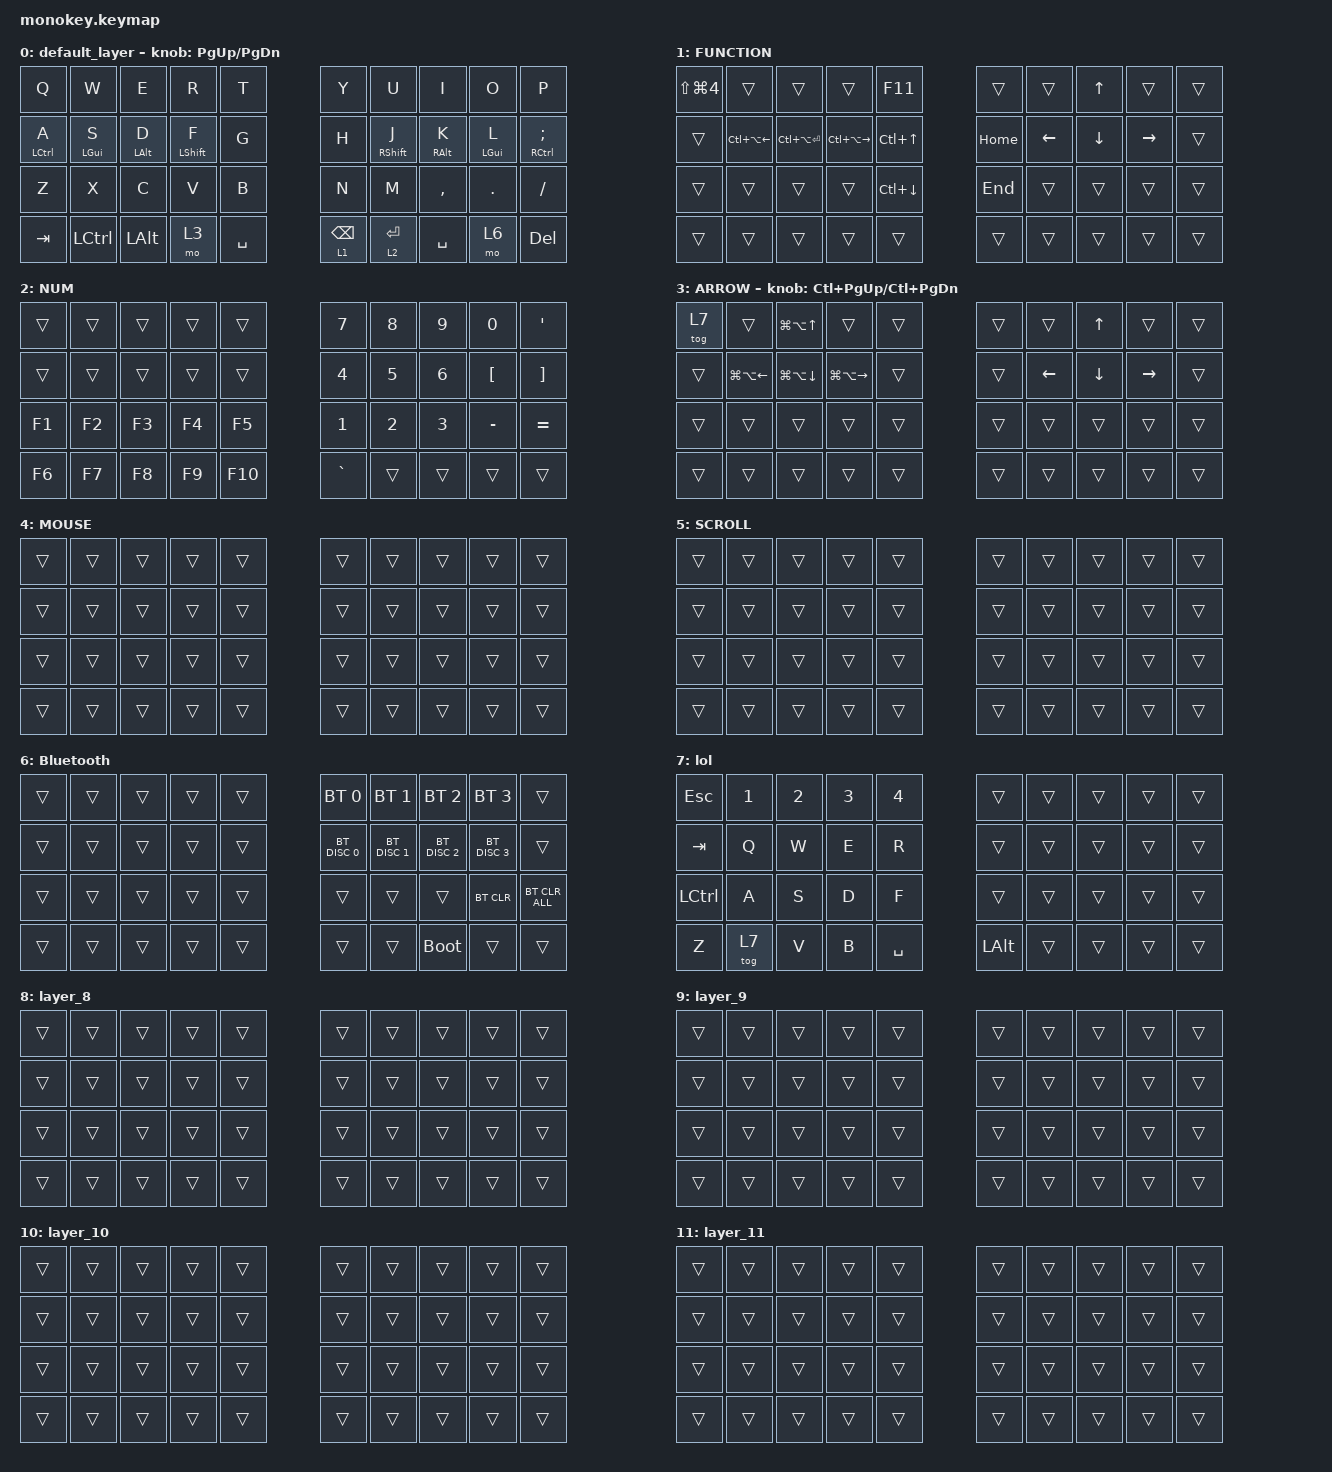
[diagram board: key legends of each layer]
#include <behaviors.dtsi>
#include <dt-bindings/zmk/bt.h>
#include <dt-bindings/zmk/keys.h>
#include <dt-bindings/zmk/pointing.h>

#define MOUSE 4
#define SCROLL 5
#define NUM 6
#define LOL 7

&mt {
    flavor = "balanced";
    quick-tap-ms = <300>;
};

&lt { quick-tap-ms = <300>; };

&caps_word { continue-list = <UNDERSCORE BACKSPACE DELETE MINUS>; };

/ {
    combos {
        compatible = "zmk,combos";

        Escape {
            bindings = <&kp ESCAPE>;
            key-positions = <0 1>;
        };

        Backspace {
            bindings = <&kp BACKSPACE>;
            key-positions = <8 9>;
        };

        left_click {
            bindings = <&mkp LCLK>;
            key-positions = <16 17>;
        };

        right_click {
            bindings = <&mkp RCLK>;
            key-positions = <17 18>;
        };

        Scroll {
            bindings = <&mo 5>;
            key-positions = <16 18>;
        };

        Enter {
            bindings = <&kp ENTER>;
            key-positions = <18 19>;
        };

        shiftcaps {
            bindings = <&caps_word>;
            key-positions = <10 19>;
        };

        Tab {
            bindings = <&kp TAB>;
            key-positions = <10 11>;
        };
    };

    behaviors {
        // ===== Homerow Mods (CAGS / macOS 최적화) =====
        // 키 포지션 레이아웃:
        //  0  1  2  3  4      5  6  7  8  9
        // 10 11 12 13 14     15 16 17 18 19
        // 20 21 22 23 24     25 26 27 28 29
        // 30 31 32 33 34 35  36 37    38 39
        //
        // 새끼(A/-)  = ⌃ Control  → macOS에서 드물게 사용, 오발동 무해
        // 약지(S/L)  = ⌥ Option   → 중간 빈도
        // 중지(D/K)  = ⌘ Command  → 가장 신뢰도 높은 손가락에 가장 중요한 키
        // 검지(F/J)  = ⇧ Shift    → 빠른 검지로 리듬 유지
        // 왼손 홈로우: 오른손 + 썸 키를 눌렀을 때만 hold 발동

        hm_l: homerow_mods_left {
            compatible = "zmk,behavior-hold-tap";
            #binding-cells = <2>;
            tapping-term-ms = <220>;
            quick-tap-ms = <175>;
            require-prior-idle-ms = <150>;
            flavor = "balanced";
            bindings = <&kp>, <&kp>;

            hold-trigger-key-positions = <5 6 7 8 9 15 16 17 18 19 25 26 27 28 29 30 31 32 33 34 35 36 37 38 39>;
            hold-trigger-on-release;
        };

        // 오른손 홈로우: 왼손 + 썸 키를 눌렀을 때만 hold 발동

        hm_r: homerow_mods_right {
            compatible = "zmk,behavior-hold-tap";
            #binding-cells = <2>;
            tapping-term-ms = <220>;
            quick-tap-ms = <175>;
            require-prior-idle-ms = <150>;
            flavor = "balanced";
            bindings = <&kp>, <&kp>;

            hold-trigger-key-positions = <0 1 2 3 4 10 11 12 13 14 20 21 22 23 24 30 31 32 33 34 35 36 37 38 39>;
            hold-trigger-on-release;
        };
    };

    keymap {
        compatible = "zmk,keymap";

        default_layer {
            bindings = <
&kp Q          &kp W             &kp E             &kp R          &kp T                                    &kp Y      &kp U          &kp I              &kp O             &kp P
&hm_l LCTRL A  &hm_l LEFT_GUI S  &hm_l LEFT_ALT D  &hm_l LSHFT F  &kp G                                    &kp H      &hm_r RSHFT J  &hm_r RIGHT_ALT K  &hm_r LEFT_GUI L  &hm_r RCTRL SEMICOLON
&kp Z          &kp X             &kp C             &kp V          &kp B                                    &kp N      &kp M          &kp COMMA          &kp PERIOD        &kp SLASH
&kp TAB        &kp LCTRL         &kp LEFT_ALT      &mo 3          &kp SPACE  &lt 1 BACKSPACE  &lt 2 ENTER  &kp SPACE                                    &mo 6             &kp DELETE
            >;

            sensor-bindings = <&inc_dec_kp PG_UP PAGE_DOWN>;
        };

        FUNCTION {
            bindings = <
&kp LS(LG(NUMBER_4))  &trans            &trans             &trans             &kp F11                             &trans    &trans          &kp UP_ARROW  &trans     &trans
&trans                &kp LC(LA(LEFT))  &kp LC(LA(ENTER))  &kp LC(LA(RIGHT))  &kp LC(UP_ARROW)                    &kp HOME  &kp LEFT_ARROW  &kp DOWN      &kp RIGHT  &trans
&trans                &trans            &trans             &trans             &kp LC(DOWN_ARROW)                  &kp END   &trans          &trans        &trans     &trans
&trans                &trans            &trans             &trans             &trans              &trans  &trans  &trans                                  &trans     &trans
            >;
        };

        NUM {
            bindings = <
&trans  &trans  &trans  &trans  &trans                      &kp N7        &kp N8        &kp N9        &kp N0            &kp SQT
&trans  &trans  &trans  &trans  &trans                      &kp N4        &kp N5        &kp NUMBER_6  &kp LEFT_BRACKET  &kp RIGHT_BRACKET
&kp F1  &kp F2  &kp F3  &kp F4  &kp F5                      &kp NUMBER_1  &kp NUMBER_2  &kp N3        &kp MINUS         &kp EQUAL
&kp F6  &kp F7  &kp F8  &kp F9  &kp F10  &kp GRAVE  &trans  &trans                                    &trans            &trans
            >;
        };

        ARROW {
            bindings = <
&tog 7  &trans                  &kp LG(LA(UP_ARROW))    &trans             &trans                  &trans  &trans          &kp UP_ARROW    &trans           &trans
&trans  &kp LG(LA(LEFT_ARROW))  &kp LG(LA(DOWN_ARROW))  &kp LG(LA(RIGHT))  &trans                  &trans  &kp LEFT_ARROW  &kp DOWN_ARROW  &kp RIGHT_ARROW  &trans
&trans  &trans                  &trans                  &trans             &trans                  &trans  &trans          &trans          &trans           &trans
&trans  &trans                  &trans                  &trans             &trans  &trans  &trans  &trans                                  &trans           &trans
            >;

            sensor-bindings = <&inc_dec_kp LC(PAGE_UP) LC(PAGE_DOWN)>;
        };

        MOUSE {
            bindings = <
&trans  &trans  &trans  &trans  &trans                  &trans  &trans  &trans  &trans  &trans
&trans  &trans  &trans  &trans  &trans                  &trans  &trans  &trans  &trans  &trans
&trans  &trans  &trans  &trans  &trans                  &trans  &trans  &trans  &trans  &trans
&trans  &trans  &trans  &trans  &trans  &trans  &trans  &trans                  &trans  &trans
            >;
        };

        SCROLL {
            bindings = <
&trans  &trans  &trans  &trans  &trans                  &trans  &trans  &trans  &trans  &trans
&trans  &trans  &trans  &trans  &trans                  &trans  &trans  &trans  &trans  &trans
&trans  &trans  &trans  &trans  &trans                  &trans  &trans  &trans  &trans  &trans
&trans  &trans  &trans  &trans  &trans  &trans  &trans  &trans                  &trans  &trans
            >;
        };

        Bluetooth {
            bindings = <
&trans  &trans  &trans  &trans  &trans                  &bt BT_SEL 0   &bt BT_SEL 1   &bt BT_SEL 2   &bt BT_SEL 3   &trans
&trans  &trans  &trans  &trans  &trans                  &bt BT_DISC 0  &bt BT_DISC 1  &bt BT_DISC 2  &bt BT_DISC 3  &trans
&trans  &trans  &trans  &trans  &trans                  &trans         &trans         &trans         &bt BT_CLR     &bt BT_CLR_ALL
&trans  &trans  &trans  &trans  &trans  &trans  &trans  &bootloader                                  &trans         &trans
            >;
        };

        lol {
            bindings = <
&kp ESC           &kp N1  &kp N2  &kp N3  &kp N4                       &trans  &trans  &trans  &trans  &trans
&kp TAB           &kp Q   &kp W   &kp E   &kp R                        &trans  &trans  &trans  &trans  &trans
&kp LEFT_CONTROL  &kp A   &kp S   &kp D   &kp F                        &trans  &trans  &trans  &trans  &trans
&kp Z             &tog 7  &kp V   &kp B   &kp SPACE  &kp LALT  &trans  &trans                  &trans  &trans
            >;
        };

        layer_8 {
            bindings = <
&trans  &trans  &trans  &trans  &trans                  &trans  &trans  &trans  &trans  &trans
&trans  &trans  &trans  &trans  &trans                  &trans  &trans  &trans  &trans  &trans
&trans  &trans  &trans  &trans  &trans                  &trans  &trans  &trans  &trans  &trans
&trans  &trans  &trans  &trans  &trans  &trans  &trans  &trans                  &trans  &trans
            >;
        };

        layer_9 {
            bindings = <
&trans  &trans  &trans  &trans  &trans                  &trans  &trans  &trans  &trans  &trans
&trans  &trans  &trans  &trans  &trans                  &trans  &trans  &trans  &trans  &trans
&trans  &trans  &trans  &trans  &trans                  &trans  &trans  &trans  &trans  &trans
&trans  &trans  &trans  &trans  &trans  &trans  &trans  &trans                  &trans  &trans
            >;
        };

        layer_10 {
            bindings = <
&trans  &trans  &trans  &trans  &trans                  &trans  &trans  &trans  &trans  &trans
&trans  &trans  &trans  &trans  &trans                  &trans  &trans  &trans  &trans  &trans
&trans  &trans  &trans  &trans  &trans                  &trans  &trans  &trans  &trans  &trans
&trans  &trans  &trans  &trans  &trans  &trans  &trans  &trans                  &trans  &trans
            >;
        };

        layer_11 {
            bindings = <
&trans  &trans  &trans  &trans  &trans                  &trans  &trans  &trans  &trans  &trans
&trans  &trans  &trans  &trans  &trans                  &trans  &trans  &trans  &trans  &trans
&trans  &trans  &trans  &trans  &trans                  &trans  &trans  &trans  &trans  &trans
&trans  &trans  &trans  &trans  &trans  &trans  &trans  &trans                  &trans  &trans
            >;
        };
    };
};
